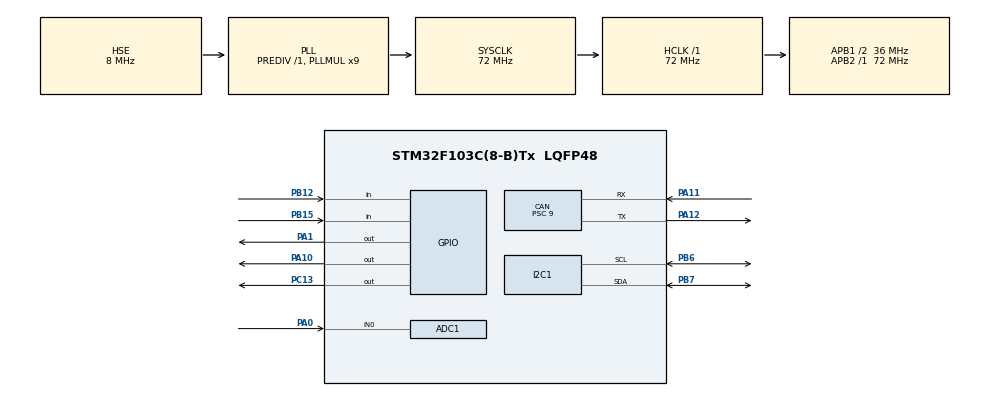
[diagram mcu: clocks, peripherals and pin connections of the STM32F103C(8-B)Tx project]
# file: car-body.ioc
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ADC1.Channel-0\#ChannelRegularConversion=ADC_CHANNEL_0
ADC1.ContinuousConvMode=ENABLE
ADC1.NbrOfConversionFlag=1
ADC1.Rank-0\#ChannelRegularConversion=1
ADC1.SamplingTime-0\#ChannelRegularConversion=ADC_SAMPLETIME_239CYCLES_5
ADC1.master=1
CAN.BS1=CAN_BS1_6TQ
CAN.CalculateBaudRate=500000
CAN.CalculateTimeBit=2000
CAN.CalculateTimeQuantum=250.0
CAN.Prescaler=9
Mcu.Family=STM32F1
Mcu.Name=STM32F103C(8-B)Tx
Mcu.Package=LQFP48
NVIC.PriorityGroup=NVIC_PRIORITYGROUP_4
PA0-WKUP.Signal=ADCx_IN0
PA1.Signal=GPIO_Output
PA10.Signal=GPIO_Output
PA11.Mode=CAN_Activate
PA11.Signal=CAN_RX
PA12.Mode=CAN_Activate
PA12.Signal=CAN_TX
PA13.Mode=Serial_Wire
PA13.Signal=SYS_JTMS-SWDIO
PA14.Mode=Serial_Wire
PA14.Signal=SYS_JTCK-SWCLK
PB12.GPIO_PuPd=GPIO_PULLUP
PB12.Signal=GPIO_Input
PB15.GPIO_PuPd=GPIO_PULLUP
PB15.Signal=GPIO_Input
PB6.Mode=I2C
PB6.Signal=I2C1_SCL
PB7.Mode=I2C
PB7.Signal=I2C1_SDA
PC13-TAMPER-RTC.Signal=GPIO_Output
PD0-OSC_IN.Mode=HSE-External-Oscillator
PD0-OSC_IN.Signal=RCC_OSC_IN
PD1-OSC_OUT.Mode=HSE-External-Oscillator
PD1-OSC_OUT.Signal=RCC_OSC_OUT
ProjectManager.HeapSize=0x200
ProjectManager.StackSize=0x400
ProjectManager.TargetToolchain=CMake
RCC.ADCPresc=RCC_ADCPCLK2_DIV6
RCC.AHBFreq_Value=72000000
RCC.APB1CLKDivider=RCC_HCLK_DIV2
RCC.APB1Freq_Value=36000000
RCC.APB1TimFreq_Value=72000000
RCC.APB2Freq_Value=72000000
RCC.APB2TimFreq_Value=72000000
RCC.HCLKFreq_Value=72000000
RCC.PLLMUL=RCC_PLL_MUL9
RCC.PLLSourceVirtual=RCC_PLLSOURCE_HSE
RCC.SYSCLKFreq_VALUE=72000000
RCC.SYSCLKSource=RCC_SYSCLKSOURCE_PLLCLK
RCC.USBFreq_Value=72000000
SH.ADCx_IN0.0=ADC1_IN0,IN0
TIM2.AutoReloadPreload=TIM_AUTORELOAD_PRELOAD_ENABLE
TIM2.Prescaler=71
VP_TIM2_VS_ClockSourceINT.Mode=Internal
board=custom

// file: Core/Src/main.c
/* USER CODE BEGIN Header */
/**
  ******************************************************************************
  * @file           : main.c
  * @brief          : Main program body
  ******************************************************************************
  * @attention
  *
  * Copyright (c) 2026 STMicroelectronics.
  * All rights reserved.
  *
  * This software is licensed under terms that can be found in the LICENSE file
  * in the root directory of this software component.
  * If no LICENSE file comes with this software, it is provided AS-IS.
  *
  ******************************************************************************
  */
/* USER CODE END Header */
#include "main.h"

/* USER CODE BEGIN Includes */
#include "DHT11.h"
#include "MPU6050.h"
/* USER CODE END Includes */

/* USER CODE BEGIN PD */
#define CAN_ID_BODY_TEMP     0x101
#define CAN_ID_BODY_HUM      0x102
#define CAN_ID_BODY_SPEED    0x103
#define CAN_ID_BODY_AIRBAG   0x104
/* USER CODE END PD */

ADC_HandleTypeDef hadc1;

CAN_HandleTypeDef hcan;

I2C_HandleTypeDef hi2c1;

TIM_HandleTypeDef htim2;

/* USER CODE BEGIN PV */
uint16_t adc_value;
uint8_t speed;
uint8_t check_tui_khi = 0;
float vibrate = 0;
/* USER CODE END PV */

void SystemClock_Config(void);
static void MX_GPIO_Init(void);
static void MX_TIM2_Init(void);
static void MX_ADC1_Init(void);
static void MX_I2C1_Init(void);
static void MX_CAN_Init(void);

/* USER CODE BEGIN 0 */
 void delay_us(uint16_t time_us)
{
    __HAL_TIM_SET_COUNTER(&htim2, 0);
    while (__HAL_TIM_GET_COUNTER(&htim2) < time_us);
}
void delay_ms(uint16_t time_ms)
{
    while(time_ms--)
    {
        delay_us(1000);
    }

}

void speed_control(void)
{
  HAL_ADC_Start(&hadc1);
  HAL_ADC_PollForConversion(&hadc1, HAL_MAX_DELAY);
  adc_value = HAL_ADC_GetValue(&hadc1);
  speed = (uint8_t)(adc_value * 100 / 4095);
}

void relay_tuikhi()
{
  if(check_tui_khi == 0)
  {
    vibrate = MPU6050_vibrate();
    uint8_t touch = (HAL_GPIO_ReadPin(GPIOB, GPIO_PIN_12) == GPIO_PIN_RESET);
    if(vibrate > 1.2 && touch == 0)
    {
      check_tui_khi = 1;
      HAL_GPIO_WritePin(GPIOA, GPIO_PIN_10, GPIO_PIN_SET);
    }
  }

  if(HAL_GPIO_ReadPin(GPIOB, GPIO_PIN_15) == GPIO_PIN_RESET)
  {
    delay_ms(20);
    if(HAL_GPIO_ReadPin(GPIOB, GPIO_PIN_15) == GPIO_PIN_RESET)
    {
      check_tui_khi = 0;
      HAL_GPIO_WritePin(GPIOA, GPIO_PIN_10, GPIO_PIN_RESET);
    }
  }
}

void CAN_SendValue(uint32_t id, float value)
{
    CAN_TxHeaderTypeDef TxHeader;
    uint8_t TxData[2];
    uint32_t TxMailbox;
    uint16_t scaled = (uint16_t)(value * 100); // để lấy hết giữ liệu thập phân

    TxHeader.StdId = id;
    TxHeader.IDE = CAN_ID_STD;
    TxHeader.RTR = CAN_RTR_DATA;
    TxHeader.DLC = 2;
    TxHeader.TransmitGlobalTime = DISABLE;

    TxData[0] = (scaled >> 8) & 0xFF;
    TxData[1] = scaled & 0xFF;

    HAL_CAN_AddTxMessage(&hcan, &TxHeader, TxData, &TxMailbox);
}
/* USER CODE END 0 */

int main(void)
{

  /* MCU Configuration--------------------------------------------------------*/

  /* Reset of all peripherals, Initializes the Flash interface and the Systick. */
  HAL_Init();

  /* Configure the system clock */
  SystemClock_Config();

  /* Initialize all configured peripherals */
  MX_GPIO_Init();
  MX_TIM2_Init();
  MX_ADC1_Init();
  MX_I2C1_Init();
  MX_CAN_Init();
  /* USER CODE BEGIN 2 */
  uint32_t DHT11_update = 0;
  uint32_t speed_update = 0;
  uint32_t MPU6050_and_touch_update = 0;
  HAL_TIM_Base_Start(&htim2);
  MPU6050_Init();
    if (HAL_CAN_Start(&hcan) != HAL_OK)
  {
    Error_Handler();
  }
  /* USER CODE END 2 */

  /* Infinite loop */
  while (1)
  {

    /* USER CODE BEGIN 3 */
    if(HAL_GetTick() - DHT11_update >= 1000)
    {
      DHT11_ReadData();
      DHT11_update = HAL_GetTick();
      CAN_SendValue(CAN_ID_BODY_TEMP, DHT11_Temperature_Int);
      CAN_SendValue(CAN_ID_BODY_HUM,  DHT11_Humidity_Int);
    }
    if(HAL_GetTick() - speed_update >= 100)
    {
      speed_control();
        CAN_SendValue(CAN_ID_BODY_SPEED, (float)speed);
      speed_update = HAL_GetTick();

     }
  if(HAL_GetTick() - MPU6050_and_touch_update >= 100)
    {
      MPU6050_read_accel();
      MPU6050_read_gyro();
      relay_tuikhi();
      CAN_SendValue(CAN_ID_BODY_AIRBAG, check_tui_khi);
      MPU6050_and_touch_update = HAL_GetTick();
    }
   }
  /* USER CODE END 3 */
}

void SystemClock_Config(void)
{
  RCC_OscInitTypeDef RCC_OscInitStruct = {0};
  RCC_ClkInitTypeDef RCC_ClkInitStruct = {0};
  RCC_PeriphCLKInitTypeDef PeriphClkInit = {0};

  /** Initializes the RCC Oscillators according to the specified parameters
  * in the RCC_OscInitTypeDef structure.
  */
  RCC_OscInitStruct.OscillatorType = RCC_OSCILLATORTYPE_HSE;
  RCC_OscInitStruct.HSEState = RCC_HSE_ON;
  RCC_OscInitStruct.HSEPredivValue = RCC_HSE_PREDIV_DIV1;
  RCC_OscInitStruct.HSIState = RCC_HSI_ON;
  RCC_OscInitStruct.PLL.PLLState = RCC_PLL_ON;
  RCC_OscInitStruct.PLL.PLLSource = RCC_PLLSOURCE_HSE;
  RCC_OscInitStruct.PLL.PLLMUL = RCC_PLL_MUL9;
  if (HAL_RCC_OscConfig(&RCC_OscInitStruct) != HAL_OK)
  {
    Error_Handler();
  }

  /** Initializes the CPU, AHB and APB buses clocks
  */
  RCC_ClkInitStruct.ClockType = RCC_CLOCKTYPE_HCLK|RCC_CLOCKTYPE_SYSCLK
                              |RCC_CLOCKTYPE_PCLK1|RCC_CLOCKTYPE_PCLK2;
  RCC_ClkInitStruct.SYSCLKSource = RCC_SYSCLKSOURCE_PLLCLK;
  RCC_ClkInitStruct.AHBCLKDivider = RCC_SYSCLK_DIV1;
  RCC_ClkInitStruct.APB1CLKDivider = RCC_HCLK_DIV2;
  RCC_ClkInitStruct.APB2CLKDivider = RCC_HCLK_DIV1;

  if (HAL_RCC_ClockConfig(&RCC_ClkInitStruct, FLASH_LATENCY_2) != HAL_OK)
  {
    Error_Handler();
  }
  PeriphClkInit.PeriphClockSelection = RCC_PERIPHCLK_ADC;
  PeriphClkInit.AdcClockSelection = RCC_ADCPCLK2_DIV6;
  if (HAL_RCCEx_PeriphCLKConfig(&PeriphClkInit) != HAL_OK)
  {
    Error_Handler();
  }
}

static void MX_ADC1_Init(void)
{

  ADC_ChannelConfTypeDef sConfig = {0};

  /** Common config
  */
  hadc1.Instance = ADC1;
  hadc1.Init.ScanConvMode = ADC_SCAN_DISABLE;
  hadc1.Init.ContinuousConvMode = ENABLE;
  hadc1.Init.DiscontinuousConvMode = DISABLE;
  hadc1.Init.ExternalTrigConv = ADC_SOFTWARE_START;
  hadc1.Init.DataAlign = ADC_DATAALIGN_RIGHT;
  hadc1.Init.NbrOfConversion = 1;
  if (HAL_ADC_Init(&hadc1) != HAL_OK)
  {
    Error_Handler();
  }

  /** Configure Regular Channel
  */
  sConfig.Channel = ADC_CHANNEL_0;
  sConfig.Rank = ADC_REGULAR_RANK_1;
  sConfig.SamplingTime = ADC_SAMPLETIME_239CYCLES_5;
  if (HAL_ADC_ConfigChannel(&hadc1, &sConfig) != HAL_OK)
  {
    Error_Handler();
  }

}

static void MX_CAN_Init(void)
{

  hcan.Instance = CAN1;
  hcan.Init.Prescaler = 9;
  hcan.Init.Mode = CAN_MODE_NORMAL;
  hcan.Init.SyncJumpWidth = CAN_SJW_1TQ;
  hcan.Init.TimeSeg1 = CAN_BS1_6TQ;
  hcan.Init.TimeSeg2 = CAN_BS2_1TQ;
  hcan.Init.TimeTriggeredMode = DISABLE;
  hcan.Init.AutoBusOff = DISABLE;
  hcan.Init.AutoWakeUp = DISABLE;
  hcan.Init.AutoRetransmission = DISABLE;
  hcan.Init.ReceiveFifoLocked = DISABLE;
  hcan.Init.TransmitFifoPriority = DISABLE;
  if (HAL_CAN_Init(&hcan) != HAL_OK)
  {
    Error_Handler();
  }

}

static void MX_I2C1_Init(void)
{

  hi2c1.Instance = I2C1;
  hi2c1.Init.ClockSpeed = 100000;
  hi2c1.Init.DutyCycle = I2C_DUTYCYCLE_2;
  hi2c1.Init.OwnAddress1 = 0;
  hi2c1.Init.AddressingMode = I2C_ADDRESSINGMODE_7BIT;
  hi2c1.Init.DualAddressMode = I2C_DUALADDRESS_DISABLE;
  hi2c1.Init.OwnAddress2 = 0;
  hi2c1.Init.GeneralCallMode = I2C_GENERALCALL_DISABLE;
  hi2c1.Init.NoStretchMode = I2C_NOSTRETCH_DISABLE;
  if (HAL_I2C_Init(&hi2c1) != HAL_OK)
  {
    Error_Handler();
  }

}

static void MX_TIM2_Init(void)
{

  TIM_ClockConfigTypeDef sClockSourceConfig = {0};
  TIM_MasterConfigTypeDef sMasterConfig = {0};

  htim2.Instance = TIM2;
  htim2.Init.Prescaler = 71;
  htim2.Init.CounterMode = TIM_COUNTERMODE_UP;
  htim2.Init.Period = 65535;
  htim2.Init.ClockDivision = TIM_CLOCKDIVISION_DIV1;
  htim2.Init.AutoReloadPreload = TIM_AUTORELOAD_PRELOAD_ENABLE;
  if (HAL_TIM_Base_Init(&htim2) != HAL_OK)
  {
    Error_Handler();
  }
  sClockSourceConfig.ClockSource = TIM_CLOCKSOURCE_INTERNAL;
  if (HAL_TIM_ConfigClockSource(&htim2, &sClockSourceConfig) != HAL_OK)
  {
    Error_Handler();
  }
  sMasterConfig.MasterOutputTrigger = TIM_TRGO_RESET;
  sMasterConfig.MasterSlaveMode = TIM_MASTERSLAVEMODE_DISABLE;
  if (HAL_TIMEx_MasterConfigSynchronization(&htim2, &sMasterConfig) != HAL_OK)
  {
    Error_Handler();
  }

}

static void MX_GPIO_Init(void)
{
  GPIO_InitTypeDef GPIO_InitStruct = {0};

  /* GPIO Ports Clock Enable */
  __HAL_RCC_GPIOC_CLK_ENABLE();
  __HAL_RCC_GPIOD_CLK_ENABLE();
  __HAL_RCC_GPIOA_CLK_ENABLE();
  __HAL_RCC_GPIOB_CLK_ENABLE();

  /*Configure GPIO pin Output Level */
  HAL_GPIO_WritePin(GPIOC, GPIO_PIN_13, GPIO_PIN_RESET);

  /*Configure GPIO pin Output Level */
  HAL_GPIO_WritePin(GPIOA, GPIO_PIN_1|GPIO_PIN_10, GPIO_PIN_RESET);

  /*Configure GPIO pin : PC13 */
  GPIO_InitStruct.Pin = GPIO_PIN_13;
  GPIO_InitStruct.Mode = GPIO_MODE_OUTPUT_PP;
  GPIO_InitStruct.Pull = GPIO_NOPULL;
  GPIO_InitStruct.Speed = GPIO_SPEED_FREQ_LOW;
  HAL_GPIO_Init(GPIOC, &GPIO_InitStruct);

  /*Configure GPIO pins : PA1 PA10 */
  GPIO_InitStruct.Pin = GPIO_PIN_1|GPIO_PIN_10;
  GPIO_InitStruct.Mode = GPIO_MODE_OUTPUT_PP;
  GPIO_InitStruct.Pull = GPIO_NOPULL;
  GPIO_InitStruct.Speed = GPIO_SPEED_FREQ_LOW;
  HAL_GPIO_Init(GPIOA, &GPIO_InitStruct);

  /*Configure GPIO pins : PB12 PB15 */
  GPIO_InitStruct.Pin = GPIO_PIN_12|GPIO_PIN_15;
  GPIO_InitStruct.Mode = GPIO_MODE_INPUT;
  GPIO_InitStruct.Pull = GPIO_PULLUP;
  HAL_GPIO_Init(GPIOB, &GPIO_InitStruct);

}

void Error_Handler(void)
{
  __disable_irq();
  while (1)
  {
  }
}
